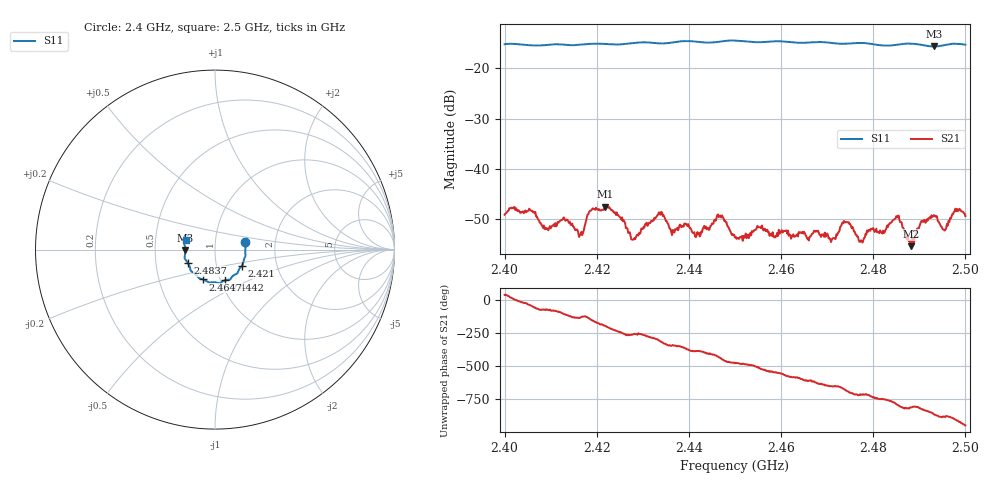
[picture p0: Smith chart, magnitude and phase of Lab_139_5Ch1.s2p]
# Hz S RI R 50
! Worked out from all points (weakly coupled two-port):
!   601 points, 2.4 GHz to 2.5 GHz, reference 50 ohm
!   highest |S21| = -47.49 dB at 2.4218 GHz (marker M1); lowest = -55.4 dB at 2.4882 GHz (marker M2)
!   lowest |S11| = -15.7 dB at 2.4932 GHz (marker M3), VSWR 1.40, Z = 35.8 - j0.116 ohm
!   |S11| at or under -10 dB: start of sweep to end of sweep
!   S12 and S22 are empty: the file has one direction only
!   S11 on the Smith chart (normalised r, x): 2.4 GHz: 1.40, +0.12; 2.421 GHz: 1.33, -0.24; 2.4442 GHz: 1.05, -0.37; 2.4647 GHz: 0.83, -0.28; 2.4837 GHz: 0.73, -0.11; 2.5 GHz: 0.72, +0.08
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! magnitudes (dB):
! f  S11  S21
! 2.4 GHz  -15.2  -49.1
! 2.4167 GHz  -15.3  -52.5
! 2.421 GHz  -15.1  -48.2
! 2.4218 GHz  -15.1  -47.5
! 2.428 GHz  -15.0  -54.0
! 2.4333 GHz  -15.0  -49.0
! 2.4363 GHz  -14.9  -53.2
! 2.4442 GHz  -14.9  -51.7
! 2.4467 GHz  -14.7  -49.4
! 2.45 GHz  -14.5  -53.6
! 2.4647 GHz  -14.9  -52.5
! 2.4667 GHz  -14.8  -52.9
! 2.4713 GHz  -15.0  -53.7
! 2.4742 GHz  -15.1  -50.6
! 2.4773 GHz  -15.0  -54.2
! 2.4833 GHz  -15.5  -51.1
! 2.4837 GHz  -15.5  -50.7
! 2.4855 GHz  -15.3  -49.3
! 2.4882 GHz  -15.1  -55.4
! 2.4932 GHz  -15.7  -49.2
! 2.4953 GHz  -15.4  -52.1
! 2.5 GHz  -15.3  -49.4
